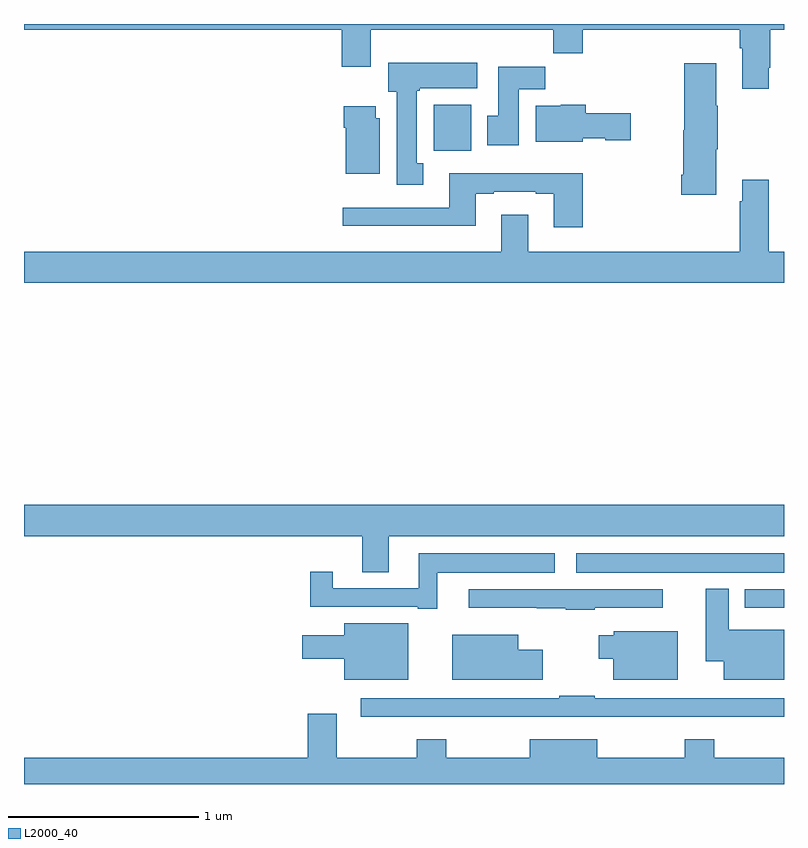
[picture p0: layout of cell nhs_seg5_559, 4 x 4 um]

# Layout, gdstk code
import gdstk
lib = gdstk.Library(unit=1e-6, precision=1e-09)
def R(c, l, rs):  # rectangles x0, y0, x1, y1
    for r in rs: c.add(gdstk.rectangle(r[:2], r[2:], *l))
def P(c, l, *ps):  # polygons
    for p in ps: c.add(gdstk.Polygon(p, *l))
L2000_40 = (2000, 40)

nhs_seg5_559 = lib.new_cell('nhs_seg5_559')
R(nhs_seg5_559, L2000_40, [(150.794,845.727,151,845.823), (149.907,845.912,151,846.013), (149.156,848.132,149.353,848.374)])
P(nhs_seg5_559, L2000_40, [(150.919,848.569),(150.927,848.569),(150.927,848.768),(151,848.768),(151,848.799),(147,848.799),(147,848.768),(148.673,848.768),(148.673,848.574),(148.825,848.574),(148.825,848.768),(149.785,848.768),(149.785,848.644),(149.942,848.644),(149.942,848.768),(150.767,848.768),(150.767,848.672),(150.779,848.672),(150.779,848.457),(150.919,848.457)],
  [(149.101,848.066),(149.068,848.066),(149.068,848.449),(149.082,848.449),(149.082,848.462),(149.386,848.462),(149.386,848.596),(148.916,848.596),(148.916,848.442),(148.961,848.442),(148.961,847.953),(149.101,847.953)],
  [(150.643,848.141),(150.651,848.141),(150.651,848.369),(150.643,848.369),(150.643,848.593),(150.476,848.593),(150.476,848.241),(150.47,848.241),(150.47,848.005),(150.458,848.005),(150.458,847.901),(150.643,847.901)],
  [(149.605,848.456),(149.744,848.456),(149.744,848.575),(149.495,848.575),(149.495,848.316),(149.438,848.316),(149.438,848.16),(149.605,848.16)],
  [(149.94,848.198),(150.06,848.198),(150.06,848.186),(150.193,848.186),(150.193,848.328),(149.957,848.328),(149.957,848.374),(149.826,848.374),(149.826,848.368),(149.693,848.368),(149.693,848.18),(149.94,848.18)],
  [(148.873,848.304),(148.852,848.304),(148.852,848.365),(148.682,848.365),(148.682,848.252),(148.694,848.252),(148.694,848.012),(148.873,848.012)],
  [(149.942,848.014),(149.237,848.014),(149.237,847.833),(148.677,847.833),(148.677,847.736),(149.377,847.736),(149.377,847.905),(149.473,847.905),(149.473,847.917),(149.693,847.917),(149.693,847.905),(149.789,847.905),(149.789,847.728),(149.942,847.728)],
  [(151,847.6),(150.919,847.6),(150.919,847.978),(150.779,847.978),(150.779,847.865),(150.767,847.865),(150.767,847.6),(149.653,847.6),(149.653,847.795),(149.513,847.795),(149.513,847.6),(147,847.6),(147,847.436),(151,847.436)],
  [(148.921,846.104),(151,846.104),(151,846.268),(147,846.268),(147,846.104),(148.781,846.104),(148.781,845.914),(148.921,845.914)],
  [(149.176,845.912),(149.794,845.912),(149.794,846.013),(149.078,846.013),(149.078,845.829),(148.624,845.829),(148.624,845.917),(148.507,845.917),(148.507,845.733),(149.072,845.733),(149.072,845.721),(149.176,845.721)],
  [(151,845.611),(150.709,845.611),(150.709,845.827),(150.587,845.827),(150.587,845.444),(150.683,845.444),(150.683,845.348),(151,845.348)],
  [(150.005,845.727),(150.361,845.727),(150.361,845.823),(149.34,845.823),(149.34,845.726),(149.698,845.726),(149.698,845.725),(149.852,845.725),(149.852,845.715),(150.005,845.715)],
  [(149.023,845.644),(148.685,845.644),(148.685,845.581),(148.464,845.581),(148.464,845.459),(148.685,845.459),(148.685,845.348),(149.023,845.348)],
  [(150.442,845.602),(150.105,845.602),(150.105,845.581),(150.026,845.581),(150.026,845.459),(150.101,845.459),(150.101,845.348),(150.442,845.348)],
  [(149.731,845.506),(149.602,845.506),(149.602,845.584),(149.255,845.584),(149.255,845.348),(149.731,845.348)],
  [(149.567,845.154),(150.112,845.154),(150.112,845.153),(150.389,845.153),(150.389,845.154),(150.721,845.154),(150.721,845.153),(150.977,845.153),(150.977,845.154),(151,845.154),(151,845.25),(150.005,845.25),(150.005,845.263),(149.818,845.263),(149.818,845.25),(148.773,845.25),(148.773,845.154),(149.311,845.154),(149.311,845.153),(149.567,845.153)],
  [(151,844.936),(150.633,844.936),(150.633,845.035),(150.478,845.035),(150.478,844.936),(150.016,844.936),(150.016,845.035),(149.663,845.035),(149.663,844.936),(149.223,844.936),(149.223,845.035),(149.068,845.035),(149.068,844.936),(148.645,844.936),(148.645,845.17),(148.493,845.17),(148.493,844.936),(147,844.936),(147,844.799),(151,844.799)])

lib.write_gds('nhs_seg5_559.gds')
